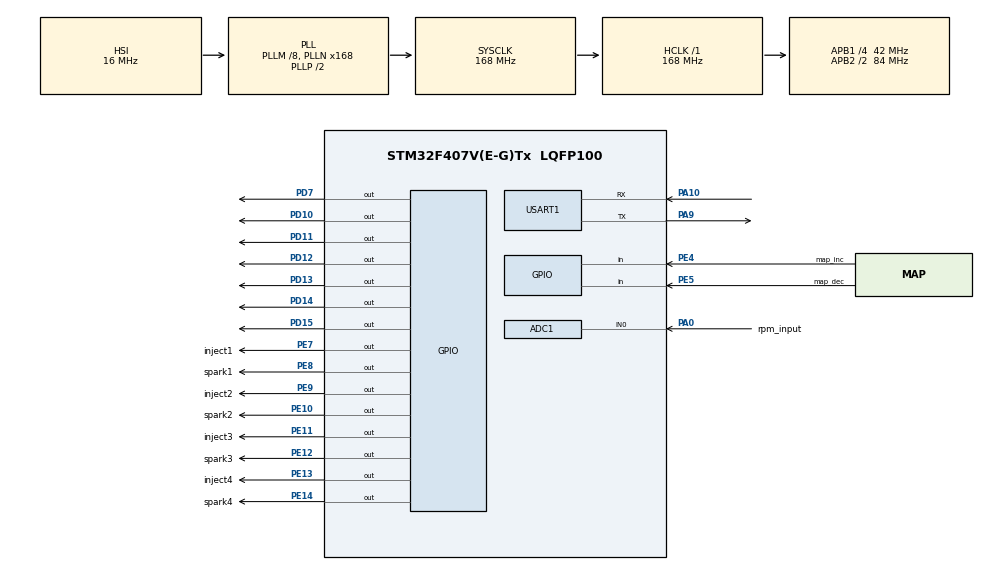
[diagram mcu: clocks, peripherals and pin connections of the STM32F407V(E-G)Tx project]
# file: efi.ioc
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ADC1.Channel-0\#ChannelRegularConversion=ADC_CHANNEL_0
ADC1.ClockPrescaler=ADC_CLOCK_SYNC_PCLK_DIV4
ADC1.ContinuousConvMode=ENABLE
ADC1.DMAContinuousRequests=ENABLE
ADC1.DiscontinuousConvMode=DISABLE
ADC1.NbrOfConversion=1
ADC1.NbrOfConversionFlag=1
ADC1.Rank-0\#ChannelRegularConversion=1
ADC1.SamplingTime-0\#ChannelRegularConversion=ADC_SAMPLETIME_144CYCLES
ADC1.ScanConvMode=ENABLE
ADC1.master=1
Dma.ADC1.0.Direction=DMA_PERIPH_TO_MEMORY
Dma.ADC1.0.FIFOMode=DMA_FIFOMODE_DISABLE
Dma.ADC1.0.Instance=DMA2_Stream0
Dma.ADC1.0.MemDataAlignment=DMA_MDATAALIGN_HALFWORD
Dma.ADC1.0.MemInc=DMA_MINC_ENABLE
Dma.ADC1.0.Mode=DMA_CIRCULAR
Dma.ADC1.0.PeriphDataAlignment=DMA_PDATAALIGN_HALFWORD
Dma.ADC1.0.PeriphInc=DMA_PINC_DISABLE
Dma.ADC1.0.Priority=DMA_PRIORITY_LOW
Dma.Request0=ADC1
FREERTOS.Tasks01=defaultTask,24,128,StartDefaultTask,Default,NULL,Dynamic,NULL,NULL;get_input,24,512,get_input_function,Default,NULL,Dynamic,NULL,NULL;calculate_efi,40,1023,calculate_efi_func,Default,NULL,Static,calculate_efiBuffer,calculate_efiControlBlock;display_data,8,1024,display_data_func,Default,NULL,Dynamic,NULL,NULL;set_output,24,128,set_output_func,Default,NULL,Dynamic,NULL,NULL;inject1_control,8,128,inject1_control_function,Default,NULL,Dynamic,NULL,NULL;inject2_control,8,128,inject2_control_function,Default,NULL,Dynamic,NULL,NULL;inject3_control,8,128,inject3_control_function,Default,NULL,Dynamic,NULL,NULL;inject4_control,8,128,inject4_control_function,Default,NULL,Dynamic,NULL,NULL;spark1_control,8,128,spark1_control_function,Default,NULL,Dynamic,NULL,NULL;spark2_control,8,128,spark2_control_function,Default,NULL,Dynamic,NULL,NULL;spark3_control,8,128,spark3_control_function,Default,NULL,Dynamic,NULL,NULL;spark4_control,8,128,spark4_control_function,Default,NULL,Dynamic,NULL,NULL
FREERTOS.configUSE_NEWLIB_REENTRANT=1
Mcu.Family=STM32F4
Mcu.Name=STM32F407V(E-G)Tx
Mcu.Package=LQFP100
NVIC.DMA2_Stream0_IRQn=true\:5\:0\:false\:false\:true\:true\:false\:true\:true
NVIC.PriorityGroup=NVIC_PRIORITYGROUP_4
NVIC.TIM1_UP_TIM10_IRQn=true\:15\:0\:false\:false\:true\:false\:false\:true\:true
NVIC.TimeBase=TIM1_UP_TIM10_IRQn
NVIC.TimeBaseIP=TIM1
PA0-WKUP.GPIO_Label=rpm_input
PA0-WKUP.Signal=ADCx_IN0
PA10.Mode=Asynchronous
PA10.Signal=USART1_RX
PA9.Mode=Asynchronous
PA9.Signal=USART1_TX
PD10.Signal=GPIO_Output
PD11.Signal=GPIO_Output
PD12.Signal=GPIO_Output
PD13.Signal=GPIO_Output
PD14.Signal=GPIO_Output
PD15.Signal=GPIO_Output
PD7.Signal=GPIO_Output
PE10.GPIO_Label=spark2
PE10.Signal=GPIO_Output
PE11.GPIO_Label=inject3
PE11.Signal=GPIO_Output
PE12.GPIO_Label=spark3
PE12.Signal=GPIO_Output
PE13.GPIO_Label=inject4
PE13.Signal=GPIO_Output
PE14.GPIO_Label=spark4
PE14.Signal=GPIO_Output
PE4.GPIO_Label=map_inc
PE4.Signal=GPIO_Input
PE5.GPIO_Label=map_dec
PE5.Signal=GPIO_Input
PE7.GPIO_Label=inject1
PE7.Signal=GPIO_Output
PE8.GPIO_Label=spark1
PE8.Signal=GPIO_Output
PE9.GPIO_Label=inject2
PE9.Signal=GPIO_Output
PH0-OSC_IN.Mode=HSE-External-Oscillator
PH0-OSC_IN.Signal=RCC_OSC_IN
PH1-OSC_OUT.Mode=HSE-External-Oscillator
PH1-OSC_OUT.Signal=RCC_OSC_OUT
ProjectManager.HeapSize=0x200
ProjectManager.StackSize=0x400
ProjectManager.TargetToolchain=STM32CubeIDE
RCC.48MHZClocksFreq_Value=84000000
RCC.AHBFreq_Value=168000000
RCC.APB1CLKDivider=RCC_HCLK_DIV4
RCC.APB1Freq_Value=42000000
RCC.APB1TimFreq_Value=84000000
RCC.APB2CLKDivider=RCC_HCLK_DIV2
RCC.APB2Freq_Value=84000000
RCC.APB2TimFreq_Value=168000000
RCC.CortexFreq_Value=168000000
RCC.HCLKFreq_Value=168000000
RCC.HSE_VALUE=25000000
RCC.HSI_VALUE=16000000
RCC.LSE_VALUE=32768
RCC.PLLM=8
RCC.PLLN=168
RCC.SYSCLKFreq_VALUE=168000000
RCC.SYSCLKSource=RCC_SYSCLKSOURCE_PLLCLK
RCC.VCOOutputFreq_Value=336000000
SH.ADCx_IN0.0=ADC1_IN0,IN0
USART1.VirtualMode=VM_ASYNC
VP_FREERTOS_VS_CMSIS_V2.Mode=CMSIS_V2
VP_SYS_VS_tim1.Mode=TIM1
board=custom

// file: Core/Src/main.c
/* USER CODE BEGIN Header */
/**
  ******************************************************************************
  * @file           : main.c
  * @brief          : Main program body
  ******************************************************************************
  * @attention
  *
  * Copyright (c) 2025 STMicroelectronics.
  * All rights reserved.
  *
  * This software is licensed under terms that can be found in the LICENSE file
  * in the root directory of this software component.
  * If no LICENSE file comes with this software, it is provided AS-IS.
  *
  ******************************************************************************
  */
/* USER CODE END Header */
#include "main.h"
#include "cmsis_os.h"

/* USER CODE BEGIN Includes */
#include "../../ECUAL/LCD16X2/LCD16X2.h"
#include "string.h"
#include "math.h"

/* USER CODE END Includes */

typedef StaticTask_t osStaticThreadDef_t;

/* USER CODE BEGIN PD */
#define MyLCD LCD16X2_1

#define spark_row 12
#define spark_col 16

#define inject_row 12
#define inject_col 16

#define map_vector_size 12
#define rpm_vector_size 11

/* USER CODE END PD */

ADC_HandleTypeDef hadc1;
DMA_HandleTypeDef hdma_adc1;

UART_HandleTypeDef huart1;

/* Definitions for defaultTask */
osThreadId_t defaultTaskHandle;
const osThreadAttr_t defaultTask_attributes = {
  .name = "defaultTask",
  .stack_size = 128 * 4,
  .priority = (osPriority_t) osPriorityNormal,
};
/* Definitions for get_input */
osThreadId_t get_inputHandle;
const osThreadAttr_t get_input_attributes = {
  .name = "get_input",
  .stack_size = 512 * 4,
  .priority = (osPriority_t) osPriorityNormal,
};
/* Definitions for calculate_efi */
osThreadId_t calculate_efiHandle;
uint32_t calculate_efiBuffer[ 1023 ];
osStaticThreadDef_t calculate_efiControlBlock;
const osThreadAttr_t calculate_efi_attributes = {
  .name = "calculate_efi",
  .cb_mem = &calculate_efiControlBlock,
  .cb_size = sizeof(calculate_efiControlBlock),
  .stack_mem = &calculate_efiBuffer[0],
  .stack_size = sizeof(calculate_efiBuffer),
  .priority = (osPriority_t) osPriorityHigh,
};
/* Definitions for display_data */
osThreadId_t display_dataHandle;
const osThreadAttr_t display_data_attributes = {
  .name = "display_data",
  .stack_size = 1024 * 4,
  .priority = (osPriority_t) osPriorityLow,
};
/* Definitions for set_output */
osThreadId_t set_outputHandle;
const osThreadAttr_t set_output_attributes = {
  .name = "set_output",
  .stack_size = 128 * 4,
  .priority = (osPriority_t) osPriorityNormal,
};
/* Definitions for inject1_control */
osThreadId_t inject1_controlHandle;
const osThreadAttr_t inject1_control_attributes = {
  .name = "inject1_control",
  .stack_size = 128 * 4,
  .priority = (osPriority_t) osPriorityLow,
};
/* Definitions for inject2_control */
osThreadId_t inject2_controlHandle;
const osThreadAttr_t inject2_control_attributes = {
  .name = "inject2_control",
  .stack_size = 128 * 4,
  .priority = (osPriority_t) osPriorityLow,
};
/* Definitions for inject3_control */
osThreadId_t inject3_controlHandle;
const osThreadAttr_t inject3_control_attributes = {
  .name = "inject3_control",
  .stack_size = 128 * 4,
  .priority = (osPriority_t) osPriorityLow,
};
/* Definitions for inject4_control */
osThreadId_t inject4_controlHandle;
const osThreadAttr_t inject4_control_attributes = {
  .name = "inject4_control",
  .stack_size = 128 * 4,
  .priority = (osPriority_t) osPriorityLow,
};
/* Definitions for spark1_control */
osThreadId_t spark1_controlHandle;
const osThreadAttr_t spark1_control_attributes = {
  .name = "spark1_control",
  .stack_size = 128 * 4,
  .priority = (osPriority_t) osPriorityLow,
};
/* Definitions for spark2_control */
osThreadId_t spark2_controlHandle;
const osThreadAttr_t spark2_control_attributes = {
  .name = "spark2_control",
  .stack_size = 128 * 4,
  .priority = (osPriority_t) osPriorityLow,
};
/* Definitions for spark3_control */
osThreadId_t spark3_controlHandle;
const osThreadAttr_t spark3_control_attributes = {
  .name = "spark3_control",
  .stack_size = 128 * 4,
  .priority = (osPriority_t) osPriorityLow,
};
/* Definitions for spark4_control */
osThreadId_t spark4_controlHandle;
const osThreadAttr_t spark4_control_attributes = {
  .name = "spark4_control",
  .stack_size = 128 * 4,
  .priority = (osPriority_t) osPriorityLow,
};
/* USER CODE BEGIN PV */

uint16_t rpm_value[10];
uint32_t current_rpm = 900; //least rpm value
uint8_t current_map = 20;  //least map value(common sensors start to measure from20kp tp 100kp)

uint8_t spark_advance[spark_row][spark_col] = {
//8  16  24   33  41  49  58 66 74 83 91 100 --MAP RPM|
{114,119,131,122,116,106,95,79,63,63,63,63}, //400
{114,119,131,122,116,106,95,79,63,63,63,63}, //773
{118,123,132,127,119,111,100,90,74,47,47,47}, //1146
{120,125,135,132,122,111,103,95,84,71,71,71}, //1519
{131,137,146,133,122,114,106,98,90,82,82,82}, //1893
{141,145,154,148,133,125,111,105,95,95,95,95},//2266
{149,154,159,154,138,130,123,111,103,88,88,88},//2640
{153,158,160,149,136,127,122,116,106,90,90,90},//3013
{158,163,165,156,148,135,130,124,119,109,109,109},//3386
{157,163,165,159,151,138,132,124,119,119,119,119},//3760
{163,164,165,159,148,138,132,127,116,111,111,111},//4133
};

uint8_t injection[inject_row][inject_col] = {
//8  16  24   33  41  49  58 66 74 83 91 100 --MAP RPM|
{121,121,126,131,134,135,137,138,138,138,138,138}, //400
{121,121,126,131,134,135,137,138,138,138,138,138}, //773
{118,118,122,125,127,128,130,131,132,132,132,132}, //1146
{115,115,123,125,127,128,129,130,131,131,131,131}, //1519
{116,116,123,127,129,131,132,133,133,133,133,133}, //1893
{116,116,120,127,128,130,131,131,131,148,148,148}, //2266
{125,125,126,129,130,131,131,131,131,148,148,148}, //2640
{144,144,132,130,130,130,130,130,130,142,142,142}, //3013
{126,126,125,127,128,129,130,130,131,134,134,134}, //3386
{120,120,121,125,126,127,128,129,129,129,129,129}, //3760
{125,125,131,131,131,131,131,131,132,131,131,131}, //4133

};

uint8_t map_vector[map_vector_size] = {8,16,24,33,41,49,58,66,74,83,91,100};
uint16_t rpm_vector[rpm_vector_size] = {400,773,1146,1519,1893,2266,2640,3013,3386,3760,4133};

/* USER CODE END PV */

void SystemClock_Config(void);
static void MX_GPIO_Init(void);
static void MX_DMA_Init(void);
static void MX_ADC1_Init(void);
static void MX_USART1_UART_Init(void);
void StartDefaultTask(void *argument);
void get_input_function(void *argument);
void calculate_efi_func(void *argument);
void display_data_func(void *argument);
void set_output_func(void *argument);
void inject1_control_function(void *argument);
void inject2_control_function(void *argument);
void inject3_control_function(void *argument);
void inject4_control_function(void *argument);
void spark1_control_function(void *argument);
void spark2_control_function(void *argument);
void spark3_control_function(void *argument);
void spark4_control_function(void *argument);

/* USER CODE BEGIN PFP */
void get_map();  //read  map from gpio, convert it to value between 0 to 100
uint8_t spark_advance_timing(uint8_t map_input , uint16_t rpm); //calculate spark advance timing
uint8_t injection_timing(uint8_t map_input , uint16_t rpm); //calculate injection timing
uint8_t rpm_vector_map(uint16_t rpm); // map rpm  pr MAP sensor value to saved valued in the code
uint8_t map_vector_map(uint8_t map);  //map MAP sensor value to saved value in the code
uint8_t current_spark=0;
uint8_t current_inject =0;
/* USER CODE END PFP */

int main(void)
{

  /* MCU Configuration--------------------------------------------------------*/

  /* Reset of all peripherals, Initializes the Flash interface and the Systick. */
  HAL_Init();

  /* Configure the system clock */
  SystemClock_Config();

  /* Initialize all configured peripherals */
  MX_GPIO_Init();
  MX_DMA_Init();
  MX_ADC1_Init();
  MX_USART1_UART_Init();
  /* USER CODE BEGIN 2 */
  HAL_ADC_Start_DMA(&hadc1, (uint32_t *)rpm_value, 5); //16bit we selected!(half of a word)

  /* USER CODE END 2 */

  /* Init scheduler */
  osKernelInitialize();

  /* Create the thread(s) */
  /* creation of defaultTask */
  defaultTaskHandle = osThreadNew(StartDefaultTask, NULL, &defaultTask_attributes);

  /* creation of get_input */
  get_inputHandle = osThreadNew(get_input_function, NULL, &get_input_attributes);

  /* creation of calculate_efi */
  calculate_efiHandle = osThreadNew(calculate_efi_func, NULL, &calculate_efi_attributes);

  /* creation of display_data */
  display_dataHandle = osThreadNew(display_data_func, NULL, &display_data_attributes);

  /* creation of set_output */
  set_outputHandle = osThreadNew(set_output_func, NULL, &set_output_attributes);

  /* creation of inject1_control */
  inject1_controlHandle = osThreadNew(inject1_control_function, NULL, &inject1_control_attributes);

  /* creation of inject2_control */
  inject2_controlHandle = osThreadNew(inject2_control_function, NULL, &inject2_control_attributes);

  /* creation of inject3_control */
  inject3_controlHandle = osThreadNew(inject3_control_function, NULL, &inject3_control_attributes);

  /* creation of inject4_control */
  inject4_controlHandle = osThreadNew(inject4_control_function, NULL, &inject4_control_attributes);

  /* creation of spark1_control */
  spark1_controlHandle = osThreadNew(spark1_control_function, NULL, &spark1_control_attributes);

  /* creation of spark2_control */
  spark2_controlHandle = osThreadNew(spark2_control_function, NULL, &spark2_control_attributes);

  /* creation of spark3_control */
  spark3_controlHandle = osThreadNew(spark3_control_function, NULL, &spark3_control_attributes);

  /* creation of spark4_control */
  spark4_controlHandle = osThreadNew(spark4_control_function, NULL, &spark4_control_attributes);

  /* Start scheduler */
  osKernelStart();

  /* We should never get here as control is now taken by the scheduler */

  /* Infinite loop */
  while (1)
  {

  }
}

void SystemClock_Config(void)
{
  RCC_OscInitTypeDef RCC_OscInitStruct = {0};
  RCC_ClkInitTypeDef RCC_ClkInitStruct = {0};

  /** Configure the main internal regulator output voltage
  */
  __HAL_RCC_PWR_CLK_ENABLE();
  __HAL_PWR_VOLTAGESCALING_CONFIG(PWR_REGULATOR_VOLTAGE_SCALE1);

  /** Initializes the RCC Oscillators according to the specified parameters
  * in the RCC_OscInitTypeDef structure.
  */
  RCC_OscInitStruct.OscillatorType = RCC_OSCILLATORTYPE_HSI;
  RCC_OscInitStruct.HSIState = RCC_HSI_ON;
  RCC_OscInitStruct.HSICalibrationValue = RCC_HSICALIBRATION_DEFAULT;
  RCC_OscInitStruct.PLL.PLLState = RCC_PLL_ON;
  RCC_OscInitStruct.PLL.PLLSource = RCC_PLLSOURCE_HSI;
  RCC_OscInitStruct.PLL.PLLM = 8;
  RCC_OscInitStruct.PLL.PLLN = 168;
  RCC_OscInitStruct.PLL.PLLP = RCC_PLLP_DIV2;
  RCC_OscInitStruct.PLL.PLLQ = 4;
  if (HAL_RCC_OscConfig(&RCC_OscInitStruct) != HAL_OK)
  {
    Error_Handler();
  }

  /** Initializes the CPU, AHB and APB buses clocks
  */
  RCC_ClkInitStruct.ClockType = RCC_CLOCKTYPE_HCLK|RCC_CLOCKTYPE_SYSCLK
                              |RCC_CLOCKTYPE_PCLK1|RCC_CLOCKTYPE_PCLK2;
  RCC_ClkInitStruct.SYSCLKSource = RCC_SYSCLKSOURCE_PLLCLK;
  RCC_ClkInitStruct.AHBCLKDivider = RCC_SYSCLK_DIV1;
  RCC_ClkInitStruct.APB1CLKDivider = RCC_HCLK_DIV4;
  RCC_ClkInitStruct.APB2CLKDivider = RCC_HCLK_DIV2;

  if (HAL_RCC_ClockConfig(&RCC_ClkInitStruct, FLASH_LATENCY_5) != HAL_OK)
  {
    Error_Handler();
  }
}

static void MX_ADC1_Init(void)
{

  ADC_ChannelConfTypeDef sConfig = {0};

  /** Configure the global features of the ADC (Clock, Resolution, Data Alignment and number of conversion)
  */
  hadc1.Instance = ADC1;
  hadc1.Init.ClockPrescaler = ADC_CLOCK_SYNC_PCLK_DIV4;
  hadc1.Init.Resolution = ADC_RESOLUTION_12B;
  hadc1.Init.ScanConvMode = ENABLE;
  hadc1.Init.ContinuousConvMode = ENABLE;
  hadc1.Init.DiscontinuousConvMode = DISABLE;
  hadc1.Init.ExternalTrigConvEdge = ADC_EXTERNALTRIGCONVEDGE_NONE;
  hadc1.Init.ExternalTrigConv = ADC_SOFTWARE_START;
  hadc1.Init.DataAlign = ADC_DATAALIGN_RIGHT;
  hadc1.Init.NbrOfConversion = 1;
  hadc1.Init.DMAContinuousRequests = ENABLE;
  hadc1.Init.EOCSelection = ADC_EOC_SINGLE_CONV;
  if (HAL_ADC_Init(&hadc1) != HAL_OK)
  {
    Error_Handler();
  }

  /** Configure for the selected ADC regular channel its corresponding rank in the sequencer and its sample time.
  */
  sConfig.Channel = ADC_CHANNEL_0;
  sConfig.Rank = 1;
  sConfig.SamplingTime = ADC_SAMPLETIME_144CYCLES;
  if (HAL_ADC_ConfigChannel(&hadc1, &sConfig) != HAL_OK)
  {
    Error_Handler();
  }

}

static void MX_USART1_UART_Init(void)
{

  huart1.Instance = USART1;
  huart1.Init.BaudRate = 115200;
  huart1.Init.WordLength = UART_WORDLENGTH_8B;
  huart1.Init.StopBits = UART_STOPBITS_1;
  huart1.Init.Parity = UART_PARITY_NONE;
  huart1.Init.Mode = UART_MODE_TX_RX;
  huart1.Init.HwFlowCtl = UART_HWCONTROL_NONE;
  huart1.Init.OverSampling = UART_OVERSAMPLING_16;
  if (HAL_UART_Init(&huart1) != HAL_OK)
  {
    Error_Handler();
  }

}

static void MX_DMA_Init(void)
{

  /* DMA controller clock enable */
  __HAL_RCC_DMA2_CLK_ENABLE();

  /* DMA interrupt init */
  /* DMA2_Stream0_IRQn interrupt configuration */
  HAL_NVIC_SetPriority(DMA2_Stream0_IRQn, 5, 0);
  HAL_NVIC_EnableIRQ(DMA2_Stream0_IRQn);

}

static void MX_GPIO_Init(void)
{
  GPIO_InitTypeDef GPIO_InitStruct = {0};

  /* GPIO Ports Clock Enable */
  __HAL_RCC_GPIOE_CLK_ENABLE();
  __HAL_RCC_GPIOH_CLK_ENABLE();
  __HAL_RCC_GPIOA_CLK_ENABLE();
  __HAL_RCC_GPIOD_CLK_ENABLE();

  /*Configure GPIO pin Output Level */
  HAL_GPIO_WritePin(GPIOE, inject1_Pin|spark1_Pin|inject2_Pin|spark2_Pin
                          |inject3_Pin|spark3_Pin|inject4_Pin|spark4_Pin, GPIO_PIN_RESET);

  /*Configure GPIO pin Output Level */
  HAL_GPIO_WritePin(GPIOD, GPIO_PIN_10|GPIO_PIN_11|GPIO_PIN_12|GPIO_PIN_13
                          |GPIO_PIN_14|GPIO_PIN_15|GPIO_PIN_7, GPIO_PIN_RESET);

  /*Configure GPIO pins : map_inc_Pin map_dec_Pin */
  GPIO_InitStruct.Pin = map_inc_Pin|map_dec_Pin;
  GPIO_InitStruct.Mode = GPIO_MODE_INPUT;
  GPIO_InitStruct.Pull = GPIO_NOPULL;
  HAL_GPIO_Init(GPIOE, &GPIO_InitStruct);

  /*Configure GPIO pins : inject1_Pin spark1_Pin inject2_Pin spark2_Pin
                           inject3_Pin spark3_Pin inject4_Pin spark4_Pin */
  GPIO_InitStruct.Pin = inject1_Pin|spark1_Pin|inject2_Pin|spark2_Pin
                          |inject3_Pin|spark3_Pin|inject4_Pin|spark4_Pin;
  GPIO_InitStruct.Mode = GPIO_MODE_OUTPUT_PP;
  GPIO_InitStruct.Pull = GPIO_NOPULL;
  GPIO_InitStruct.Speed = GPIO_SPEED_FREQ_LOW;
  HAL_GPIO_Init(GPIOE, &GPIO_InitStruct);

  /*Configure GPIO pins : PD10 PD11 PD12 PD13
                           PD14 PD15 PD7 */
  GPIO_InitStruct.Pin = GPIO_PIN_10|GPIO_PIN_11|GPIO_PIN_12|GPIO_PIN_13
                          |GPIO_PIN_14|GPIO_PIN_15|GPIO_PIN_7;
  GPIO_InitStruct.Mode = GPIO_MODE_OUTPUT_PP;
  GPIO_InitStruct.Pull = GPIO_NOPULL;
  GPIO_InitStruct.Speed = GPIO_SPEED_FREQ_LOW;
  HAL_GPIO_Init(GPIOD, &GPIO_InitStruct);

}

/* USER CODE BEGIN 4 */

void get_map(){

	//current_map = (map_value[0] * 3.3) /4095;
	if(HAL_GPIO_ReadPin(map_inc_GPIO_Port, map_inc_Pin) == 0) //key pressed
		current_map +=10;
	if(current_map>100)
		current_map=100;

	if(HAL_GPIO_ReadPin(map_inc_GPIO_Port, map_dec_Pin) == 0) //key pressed
			current_map -=10;
		if(current_map<20)
			current_map=20;
}

uint8_t spark_advance_timing(uint8_t map_input , uint16_t rpm){

	uint8_t rpm_index = rpm_vector_map(rpm);
	uint8_t map_index = map_vector_map(map_input);

	uint8_t spark_advance_degree = spark_advance[rpm_index][map_index];

	float degree_to_time = ((float)spark_advance_degree /360 );

    uint8_t spark_advance_time = degree_to_time * (60000/rpm);

	return spark_advance_time;
}

uint8_t injection_timing(uint8_t map_input , uint16_t rpm){

	uint8_t rpm_index = rpm_vector_map(current_rpm);
	uint8_t map_index = map_vector_map(map_input);

	return injection[rpm_index][map_index];
}

uint8_t rpm_vector_map(uint16_t rpm){

	int min_value=0;

	uint8_t result=0;

	char data[5];

	min_value = abs(rpm - rpm_vector[0]);

	result = 0;

	for(int i=1; i<rpm_vector_size; i++){

		if(abs(rpm - rpm_vector[i])< min_value){
			min_value = abs(rpm - rpm_vector[i]);
				result = i;

		}

		itoa(abs(rpm - rpm_vector[i]) , data , 10);
		strcat(data , "\n");
		//HAL_UART_Transmit(&huart1, (uint8_t *)data, strlen(data), HAL_MAX_DELAY);

	}

	//itoa(result , data , 10);
	//strcat(data , "\n");

	//HAL_UART_Transmit(&huart1, (uint8_t *)data, strlen(data), HAL_MAX_DELAY);

	return result;

}

uint8_t map_vector_map(uint8_t map){

	int min_value=0;

	uint8_t result=0;

	min_value = abs(map - map_vector[0]);

	result = 0;

	for(int i=1; i<map_vector_size; i++){

		if(abs(map - map_vector[i])< min_value){
			min_value = abs(map - map_vector[i]);
				result = i;
		}

	}

	return result;

}

/* USER CODE END 4 */

void StartDefaultTask(void *argument)
{
  for(;;)
  {
    osDelay(1);
  }
}

void get_input_function(void *argument)
{
  /* USER CODE BEGIN get_input_function */
  /* Infinite loop */
  for(;;)
  {
	 get_map();
   //  HAL_UART_Transmit(&huart1, (uint8_t *)"getinput\n", 10, HAL_MAX_DELAY);
	// HAL_Delay(500); //debouncing
     vTaskDelay(pdMS_TO_TICKS(100));
    osDelay(1);
  }
  /* USER CODE END get_input_function */
}

void calculate_efi_func(void *argument)
{
  /* USER CODE BEGIN calculate_efi_func */
  /* Infinite loop */
  for(;;)
  {
	current_spark = spark_advance_timing(current_map ,  rpm_value[0]);

	current_inject = injection_timing(current_map , rpm_value[0]);

    osDelay(1);
  }
  /* USER CODE END calculate_efi_func */
}

void display_data_func(void *argument)
{
  /* USER CODE BEGIN display_data_func */
	    LCD16X2_Init(MyLCD);
	    LCD16X2_Clear(MyLCD);
  /* Infinite loop */
  for(;;)
  {
	       char rpm_string[10];
	       char map_string[10];

	       LCD16X2_Set_Cursor(MyLCD, 1, 1);
	       LCD16X2_Write_String(MyLCD, "MAP:");

	       LCD16X2_Set_Cursor(MyLCD, 2, 1);
	       LCD16X2_Write_String(MyLCD, "RPM:");

	       itoa(current_map ,map_string , 10);
	       itoa(rpm_value[0] ,rpm_string , 10);

	       LCD16X2_Set_Cursor(MyLCD, 2, 6);
	       LCD16X2_Write_String(MyLCD, rpm_string);

	       LCD16X2_Set_Cursor(MyLCD, 1, 5);
	       LCD16X2_Write_String(MyLCD, map_string);
           //HAL_UART_Transmit(&huart1, (uint8_t *)map_string, 10, HAL_MAX_DELAY);

	    //  uint8_t res = spark_advance_timing(current_map , rpm_value[0]);

	    //  uint8_t res2 = injection_timing(current_map , rpm_value[0]);

	      char data[5];
	      itoa(current_inject ,data , 10);

	      char data2[5];
	  	   itoa(current_spark ,data2 , 10);

	      LCD16X2_Set_Cursor(MyLCD, 2, 11);
	      LCD16X2_Write_String(MyLCD, "IJ");
	      LCD16X2_Set_Cursor(MyLCD, 2, 14);
	      LCD16X2_Write_String(MyLCD, data);

	      LCD16X2_Set_Cursor(MyLCD, 1, 9);
	      LCD16X2_Write_String(MyLCD, "SP");
	      LCD16X2_Set_Cursor(MyLCD, 1, 13);
	      LCD16X2_Write_String(MyLCD, data2);

	      vTaskDelay(pdMS_TO_TICKS(500));
	 	  LCD16X2_Clear(MyLCD);

    osDelay(1);
  }
  /* USER CODE END display_data_func */
}

void set_output_func(void *argument)
{
  for(;;)
  {
    osDelay(1);
  }
}

void inject1_control_function(void *argument)
{
  /* USER CODE BEGIN inject1_control_function */
  /* Infinite loop */
  for(;;)
  {
	  HAL_GPIO_TogglePin(inject1_GPIO_Port , inject1_Pin);
	  vTaskDelay(pdMS_TO_TICKS(current_inject));
    osDelay(1);
  }
  /* USER CODE END inject1_control_function */
}

void inject2_control_function(void *argument)
{
  /* USER CODE BEGIN inject2_control_function */
  /* Infinite loop */
  for(;;)
  {
	  HAL_GPIO_TogglePin(inject2_GPIO_Port , inject2_Pin);
	  vTaskDelay(pdMS_TO_TICKS(current_inject));
    osDelay(1);
  }
  /* USER CODE END inject2_control_function */
}

void inject3_control_function(void *argument)
{
  /* USER CODE BEGIN inject3_control_function */
  /* Infinite loop */
  for(;;)
  {
	  HAL_GPIO_TogglePin(inject3_GPIO_Port , inject3_Pin);
	  vTaskDelay(pdMS_TO_TICKS(current_inject));
    osDelay(1);
  }
  /* USER CODE END inject3_control_function */
}

void inject4_control_function(void *argument)
{
  /* USER CODE BEGIN inject4_control_function */
  /* Infinite loop */
  for(;;)
  {
	  HAL_GPIO_TogglePin(inject4_GPIO_Port , inject4_Pin);
	  vTaskDelay(pdMS_TO_TICKS(current_inject));
    osDelay(1);
  }
  /* USER CODE END inject4_control_function */
}

void spark1_control_function(void *argument)
{
  /* USER CODE BEGIN spark1_control_function */
  /* Infinite loop */
  for(;;)
  {
	  HAL_GPIO_TogglePin(spark1_GPIO_Port , spark1_Pin);
	  vTaskDelay(pdMS_TO_TICKS(current_spark));
    osDelay(1);
  }
  /* USER CODE END spark1_control_function */
}

void spark2_control_function(void *argument)
{
  /* USER CODE BEGIN spark2_control_function */
  /* Infinite loop */
  for(;;)
  {
	  HAL_GPIO_TogglePin(spark2_GPIO_Port , spark2_Pin);
	  vTaskDelay(pdMS_TO_TICKS(current_spark));
    osDelay(1);
  }
  /* USER CODE END spark2_control_function */
}

void spark3_control_function(void *argument)
{
  /* USER CODE BEGIN spark3_control_function */
  /* Infinite loop */
  for(;;)
  {
	  HAL_GPIO_TogglePin(spark2_GPIO_Port , spark2_Pin);
	  vTaskDelay(pdMS_TO_TICKS(current_spark));
    osDelay(1);
  }
  /* USER CODE END spark3_control_function */
}

void spark4_control_function(void *argument)
{
  /* USER CODE BEGIN spark4_control_function */
  /* Infinite loop */
  for(;;)
  {
	  HAL_GPIO_TogglePin(spark4_GPIO_Port , spark4_Pin);
	  vTaskDelay(pdMS_TO_TICKS(current_spark));
    osDelay(1);
  }
  /* USER CODE END spark4_control_function */
}

void HAL_TIM_PeriodElapsedCallback(TIM_HandleTypeDef *htim)
{
  if (htim->Instance == TIM1) {
    HAL_IncTick();
  }
}

void Error_Handler(void)
{
  __disable_irq();
  while (1)
  {
  }
}
